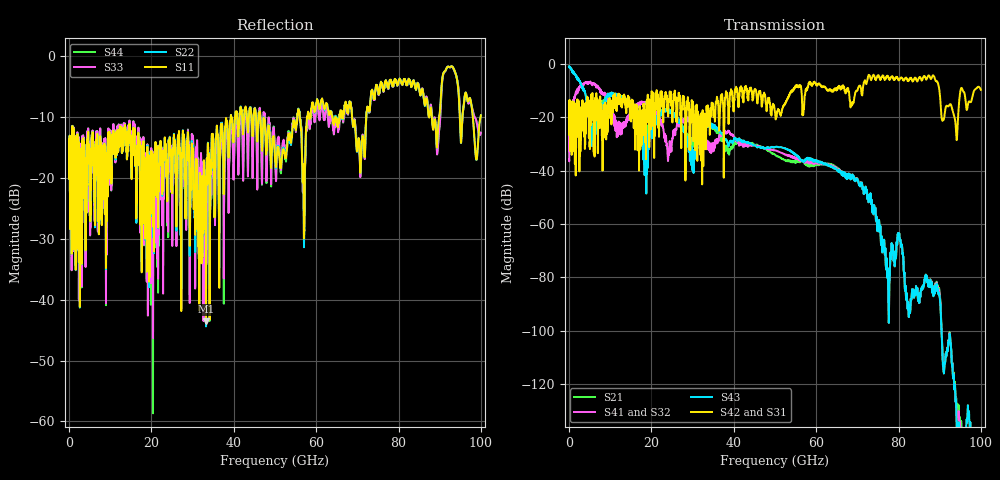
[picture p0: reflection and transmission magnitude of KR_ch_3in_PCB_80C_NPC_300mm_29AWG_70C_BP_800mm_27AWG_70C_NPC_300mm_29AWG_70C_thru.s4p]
# GHz S RI R 45
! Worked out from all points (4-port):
!   4000 points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, 25 MHz to 100 GHz, reference 45 ohm
!   strongest paths, dB at 25 MHz, 25.02 GHz, 50.02 GHz, 75.03 GHz, 100 GHz:
!     S42: -20.0, -17.9, -18.0, -4.4, -9.7
!     S31: -20.0, -18.0, -18.1, -4.4, -9.7
!     S43: -0.9, -17.9, -31.2, -59.9, -157.0
!     S41: -35.7, -29.0, -32.4, -59.9, -162.9
!     S32: -35.7, -29.1, -32.4, -59.9, -162.8
!     S21: -0.9, -17.7, -34.0, -60.0, -173.5
!   lowest |S11| = -43.6 dB at 33.27 GHz (marker M1), VSWR 1.01, Z = 44.9 + j0.579 ohm
!   |S11| at or under -10 dB: start of sweep to 39.26 GHz; 46.41 GHz to 55.4 GHz (8.984 GHz wide, 17.6 % of centre); 68.72 GHz to 72.15 GHz (3.432 GHz wide, 4.87 % of centre) (the widest 3 of 22)
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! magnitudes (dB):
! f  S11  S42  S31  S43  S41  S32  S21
! 25 MHz  -16.0  -20.0  -20.0  -0.9  -35.7  -35.7  -0.9
! 4.725 GHz  -14.5  -13.5  -13.5  -15.1  -7.4  -7.4  -14.2
! 18.68 GHz  -24.1  -35.7  -35.7  -33.1  -14.5  -14.5  -26.0
! 33.27 GHz  -43.6  -27.7  -28.3  -22.5  -29.4  -29.4  -22.3
! 69.55 GHz  -12.1  -10.6  -10.6  -44.0  -43.8  -43.8  -43.7
! 77.42 GHz  -4.8  -4.8  -4.8  -79.4  -79.5  -79.5  -79.5
! 100 GHz  -9.7  -9.7  -9.7  -157.0  -162.9  -162.8  -173.5
